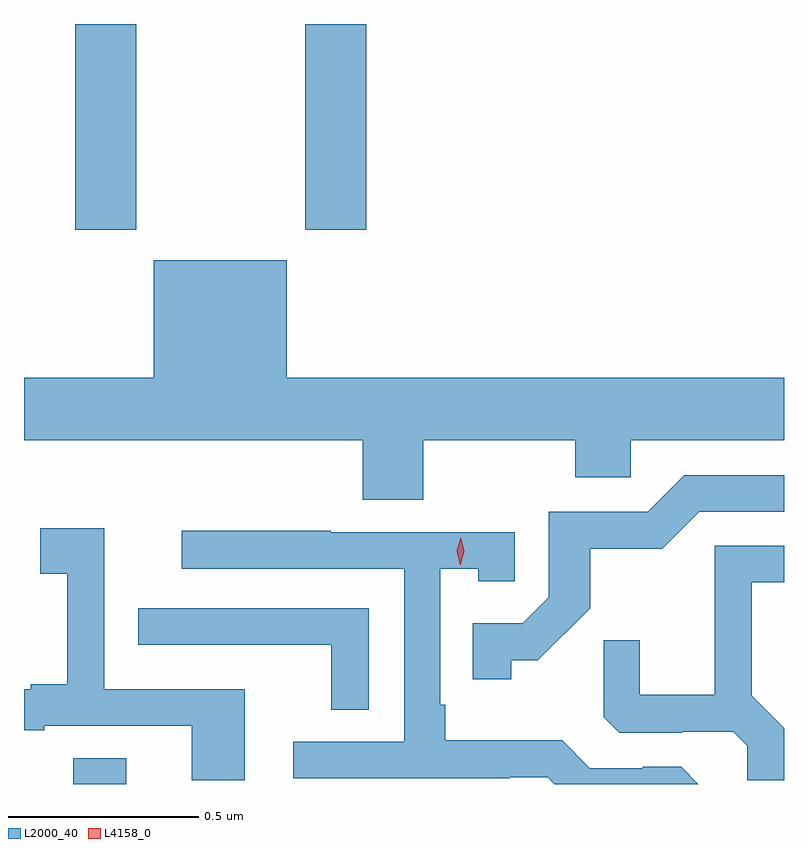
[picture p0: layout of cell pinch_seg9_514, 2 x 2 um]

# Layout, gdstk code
import gdstk
lib = gdstk.Library(unit=1e-6, precision=1e-09)
def R(c, l, rs):  # rectangles x0, y0, x1, y1
    for r in rs: c.add(gdstk.rectangle(r[:2], r[2:], *l))
def P(c, l, *ps):  # polygons
    for p in ps: c.add(gdstk.Polygon(p, *l))
L2000_40 = (2000, 40)
L4158_0 = (4158, 0)

pinch_seg9_514 = lib.new_cell('pinch_seg9_514')
R(pinch_seg9_514, L2000_40, [(365.171,1194.183,365.311,1194.251), (365.177,1195.641,365.337,1196.183), (365.782,1195.641,365.942,1196.183)])
P(pinch_seg9_514, L2000_40, [(366.093,1195.088),(366.493,1195.088),(366.493,1194.99),(366.639,1194.99),(366.639,1195.088),(367.042,1195.088),(367.042,1195.252),(365.734,1195.252),(365.734,1195.561),(365.384,1195.561),(365.384,1195.252),(365.042,1195.252),(365.042,1195.088),(365.933,1195.088),(365.933,1194.931),(366.093,1194.931)],
  [(366.324,1194.509),(366.394,1194.509),(366.532,1194.646),(366.532,1194.802),(366.721,1194.802),(366.819,1194.9),(367.042,1194.9),(367.042,1194.996),(366.78,1194.996),(366.684,1194.9),(366.423,1194.9),(366.423,1194.675),(366.354,1194.606),(366.223,1194.606),(366.223,1194.459),(366.324,1194.459)],
  [(365.623,1194.432),(365.253,1194.432),(365.253,1194.856),(365.085,1194.856),(365.085,1194.736),(365.156,1194.736),(365.156,1194.445),(365.06,1194.445),(365.06,1194.432),(365.042,1194.432),(365.042,1194.324),(365.095,1194.324),(365.095,1194.336),(365.483,1194.336),(365.483,1194.193),(365.623,1194.193)],
  [(366.771,1194.228),(366.67,1194.228),(366.67,1194.225),(366.531,1194.225),(366.458,1194.298),(366.151,1194.298),(366.151,1194.391),(366.138,1194.391),(366.138,1194.749),(366.237,1194.749),(366.237,1194.717),(366.333,1194.717),(366.333,1194.846),(365.849,1194.846),(365.849,1194.849),(365.457,1194.849),(365.457,1194.75),(366.042,1194.75),(366.042,1194.294),(365.751,1194.294),(365.751,1194.198),(366.32,1194.198),(366.32,1194.201),(366.42,1194.201),(366.438,1194.183),(366.816,1194.183)],
  [(367.042,1194.33),(366.957,1194.415),(366.957,1194.714),(367.042,1194.714),(367.042,1194.81),(366.86,1194.81),(366.86,1194.418),(366.662,1194.418),(366.662,1194.561),(366.568,1194.561),(366.568,1194.359),(366.609,1194.318),(366.774,1194.318),(366.774,1194.321),(366.908,1194.321),(366.945,1194.284),(366.945,1194.193),(367.042,1194.193)],
  [(365.949,1194.645),(365.343,1194.645),(365.343,1194.55),(365.455,1194.55),(365.455,1194.549),(365.851,1194.549),(365.851,1194.379),(365.949,1194.379)])
P(pinch_seg9_514, L4158_0, [(366.19,1194.759),(366.19,1194.759),(366.181,1194.795),(366.191,1194.831),(366.191,1194.831),(366.191,1194.831),(366.201,1194.795),(366.19,1194.759)])

lib.write_gds('pinch_seg9_514.gds')
